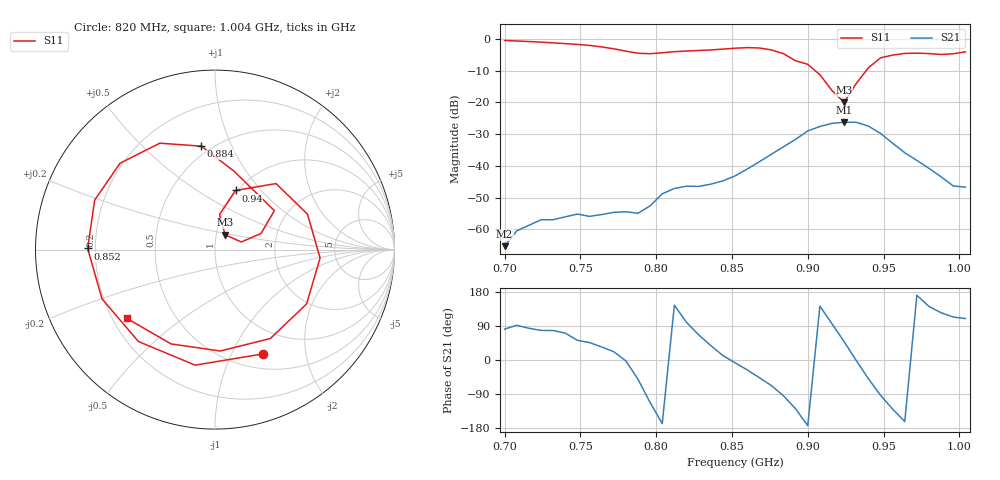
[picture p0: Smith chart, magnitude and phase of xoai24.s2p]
# Hz S RI R 50
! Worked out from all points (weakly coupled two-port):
!   39 points, 700 MHz to 1.004 GHz, reference 50 ohm
!   highest |S21| = -26.28 dB at 924 MHz (marker M1); lowest = -65.3 dB at 700 MHz (marker M2)
!   lowest |S11| = -20.0 dB at 924 MHz (marker M3), VSWR 1.22, Z = 55.2 + j9.18 ohm
!   |S11| at or under -10 dB: 904.8 MHz to 938.6 MHz (33.83 MHz wide, 3.67 % of centre)
!   S12 and S22 are empty: the file has one direction only
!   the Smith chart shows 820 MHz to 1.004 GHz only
!   S11 on the Smith chart (normalised r, x): 820 MHz: 0.68, -1.33; 852 MHz: 0.17, +0.00; 884 MHz: 0.44, +0.77; 940 MHz: 0.98, +0.74; 1.004 GHz: 0.26, -0.32
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7e8  0.7613 0.5505  8.02e-05 0.000538  0 0  0 0
7.24e8  0.8483 -0.2485  0.000291 0.00139  0 0  0 0
7.4e8  0.4591 -0.7013  0.000511 0.00149  0 0  0 0
7.56e8  -0.1951 -0.7603  0.00111 0.00115  0 0  0 0
7.72e8  -0.6665 -0.1941  0.00172 0.000692  0 0  0 0
7.8e8  -0.5937 0.2322  0.00189 -7.74e-05  0 0  0 0
7.88e8  -0.2427 0.5387  0.00113 -0.00139  0 0  0 0
7.96e8  0.2481 0.526  -0.000891 -0.00217  0 0  0 0
8.04e8  0.5758 0.1707  -0.00354 -0.000769  0 0  0 0
8.2e8  0.2675 -0.581  -0.000774 0.00472  0 0  0 0
8.36e8  -0.4268 -0.512  0.00405 0.00318  0 0  0 0
8.52e8  -0.7096 0.00647  0.00688 -0.000865  0 0  0 0
8.68e8  -0.5291 0.4812  0.00798 -0.00839  0 0  0 0
8.84e8  -0.0763 0.5763  -0.00159 -0.0199  0 0  0 0
9e8  0.3308 0.2169  -0.0352 -0.00413  0 0  0 0
9.08e8  0.2567 0.0901  -0.0328 0.0256  0 0  0 0
9.24e8  0.0563 0.0824  0.0322 0.0363  0 0  0 0
9.4e8  0.1144 0.3297  0.0275 -0.0321  0 0  0 0
9.56e8  0.5155 0.1974  -0.0144 -0.0175  0 0  0 0
9.64e8  0.5853 -0.0469  -0.0153 -0.00483  0 0  0 0
9.8e8  0.3083 -0.4954  -0.0071 0.0057  0 0  0 0
1.004e9  -0.4915 -0.3831  -0.00153 0.00437  0 0  0 0
